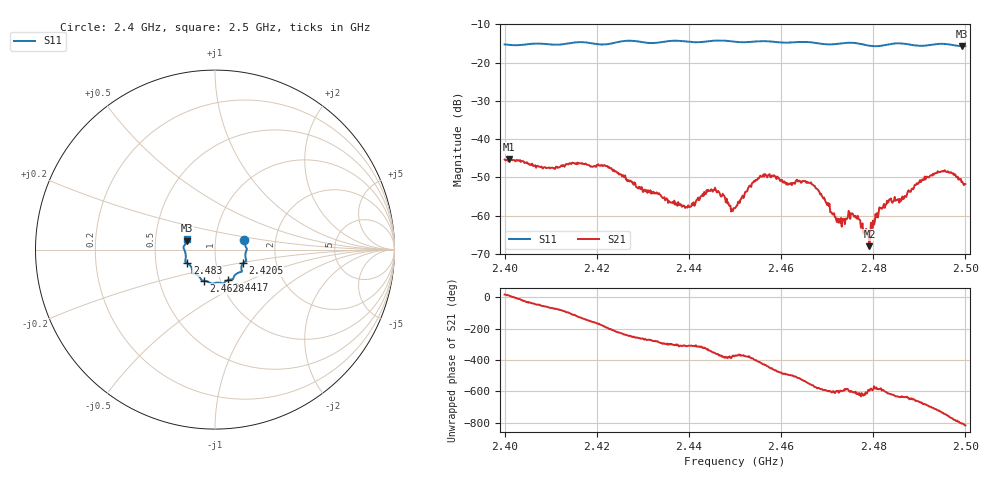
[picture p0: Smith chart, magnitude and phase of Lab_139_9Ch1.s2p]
# Hz S RI R 50
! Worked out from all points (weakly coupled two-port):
!   601 points, 2.4 GHz to 2.5 GHz, reference 50 ohm
!   highest |S21| = -45.26 dB at 2.401 GHz (marker M1); lowest = -68.0 dB at 2.4792 GHz (marker M2)
!   lowest |S11| = -15.7 dB at 2.4993 GHz (marker M3), VSWR 1.39, Z = 36.4 + j3.65 ohm
!   |S11| at or under -10 dB: start of sweep to end of sweep
!   S12 and S22 are empty: the file has one direction only
!   S11 on the Smith chart (normalised r, x): 2.4 GHz: 1.38, +0.16; 2.4205 GHz: 1.35, -0.21; 2.4417 GHz: 1.09, -0.38; 2.4628 GHz: 0.83, -0.30; 2.483 GHz: 0.73, -0.11; 2.5 GHz: 0.73, +0.09
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2.4e9  0.1636 0.0561  0.00518 0.0015  0 0  0 0
2.401e9  0.1641 0.0466  0.00538 0.000935  0 0  0 0
2.408667e9  0.1758 -0.00288  0.00218 -0.00368  0 0  0 0
2.416667e9  0.1739 -0.0633  -0.00322 -0.0035  0 0  0 0
2.4205e9  0.1555 -0.0767  -0.00443 -0.000852  0 0  0 0
2.433333e9  0.1072 -0.1476  0.000506 0.00183  0 0  0 0
2.439e9  0.0929 -0.1656  0.00083 0.00105  0 0  0 0
2.441667e9  0.0719 -0.1698  0.00111 0.00115  0 0  0 0
2.445333e9  0.0494 -0.1869  0.00214 0.000259  0 0  0 0
2.45e9  0.0289 -0.1853  0.00122 -0.00029  0 0  0 0
2.456e9  -0.015 -0.19  0.00129 -0.00295  0 0  0 0
2.462833e9  -0.0627 -0.1734  -0.0022 -0.00154  0 0  0 0
2.466667e9  -0.0774 -0.1666  -0.00242 0.000859  0 0  0 0
2.472333e9  -0.1133 -0.1348  -0.000513 0.000756  0 0  0 0
2.475167e9  -0.1266 -0.1307  -0.0006 0.000871  0 0  0 0
2.479167e9  -0.129 -0.105  -0.000225 0.000328  0 0  0 0
2.481e9  -0.1386 -0.0878  -0.000693 0.000639  0 0  0 0
2.483e9  -0.1543 -0.0752  -0.000594 0.00145  0 0  0 0
2.483333e9  -0.1565 -0.0738  -0.000457 0.00145  0 0  0 0
2.4945e9  -0.1755 0.0119  0.00369 -0.00042  0 0  0 0
2.499333e9  -0.156 0.0488  0.00036 -0.00275  0 0  0 0
2.5e9  -0.1537 0.0575  -0.000267 -0.00256  0 0  0 0
